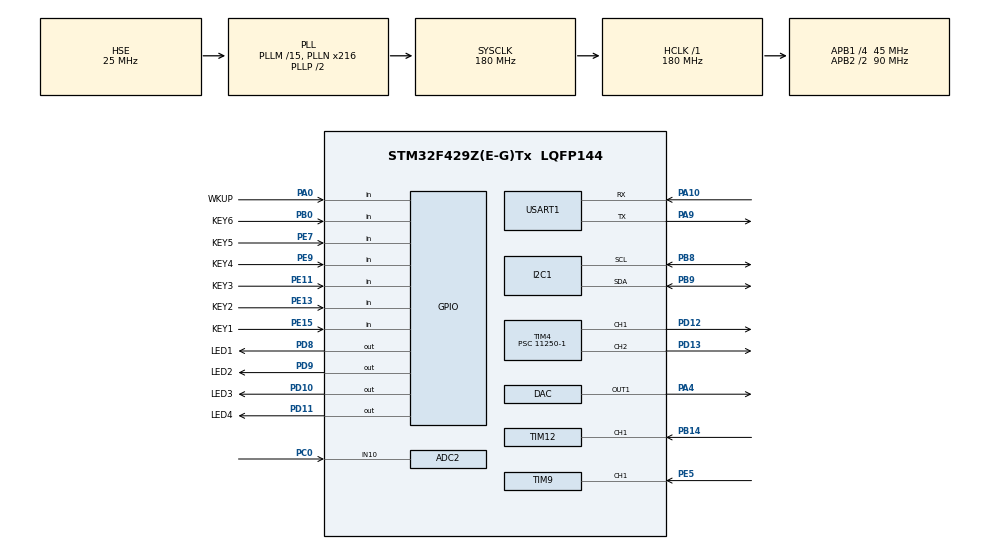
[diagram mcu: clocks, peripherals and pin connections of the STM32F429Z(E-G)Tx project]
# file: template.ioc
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ADC1.Channel-1\#ChannelRegularConversion=ADC_CHANNEL_4
ADC1.Channel-3\#ChannelInjectedConversion=ADC_CHANNEL_VREFINT
ADC1.ContinuousConvMode=DISABLE
ADC1.DMAContinuousRequests=ENABLE
ADC1.ExternalTrigConv=ADC_EXTERNALTRIGCONV_T3_TRGO
ADC1.InjNumberOfConversion=1
ADC1.InjectedOffset-3\#ChannelInjectedConversion=0
ADC1.InjectedRank-3\#ChannelInjectedConversion=1
ADC1.NbrOfConversion=1
ADC1.NbrOfConversionFlag=1
ADC1.Rank-1\#ChannelRegularConversion=1
ADC1.SamplingTime-1\#ChannelRegularConversion=ADC_SAMPLETIME_15CYCLES
ADC1.SamplingTime-3\#ChannelInjectedConversion=ADC_SAMPLETIME_480CYCLES
ADC1.master=1
ADC2.Channel-1\#ChannelRegularConversion=ADC_CHANNEL_10
ADC2.NbrOfConversionFlag=1
ADC2.Rank-1\#ChannelRegularConversion=1
ADC2.SamplingTime-1\#ChannelRegularConversion=ADC_SAMPLETIME_480CYCLES
DAC.DAC_Trigger=DAC_TRIGGER_T6_TRGO
Dma.ADC1.4.Direction=DMA_PERIPH_TO_MEMORY
Dma.ADC1.4.FIFOMode=DMA_FIFOMODE_DISABLE
Dma.ADC1.4.Instance=DMA2_Stream0
Dma.ADC1.4.MemDataAlignment=DMA_MDATAALIGN_HALFWORD
Dma.ADC1.4.MemInc=DMA_MINC_ENABLE
Dma.ADC1.4.Mode=DMA_CIRCULAR
Dma.ADC1.4.PeriphDataAlignment=DMA_PDATAALIGN_HALFWORD
Dma.ADC1.4.PeriphInc=DMA_PINC_DISABLE
Dma.ADC1.4.Priority=DMA_PRIORITY_LOW
Dma.DAC1.3.Direction=DMA_MEMORY_TO_PERIPH
Dma.DAC1.3.FIFOMode=DMA_FIFOMODE_DISABLE
Dma.DAC1.3.Instance=DMA1_Stream5
Dma.DAC1.3.MemDataAlignment=DMA_MDATAALIGN_HALFWORD
Dma.DAC1.3.MemInc=DMA_MINC_ENABLE
Dma.DAC1.3.Mode=DMA_CIRCULAR
Dma.DAC1.3.PeriphDataAlignment=DMA_PDATAALIGN_HALFWORD
Dma.DAC1.3.PeriphInc=DMA_PINC_DISABLE
Dma.DAC1.3.Priority=DMA_PRIORITY_LOW
Dma.Request0=USART1_RX
Dma.Request1=USART1_TX
Dma.Request2=TIM4_UP
Dma.Request3=DAC1
Dma.Request4=ADC1
Dma.TIM4_UP.2.Direction=DMA_MEMORY_TO_PERIPH
Dma.TIM4_UP.2.FIFOMode=DMA_FIFOMODE_DISABLE
Dma.TIM4_UP.2.Instance=DMA1_Stream6
Dma.TIM4_UP.2.MemDataAlignment=DMA_MDATAALIGN_HALFWORD
Dma.TIM4_UP.2.MemInc=DMA_MINC_ENABLE
Dma.TIM4_UP.2.Mode=DMA_CIRCULAR
Dma.TIM4_UP.2.PeriphDataAlignment=DMA_PDATAALIGN_HALFWORD
Dma.TIM4_UP.2.PeriphInc=DMA_PINC_DISABLE
Dma.TIM4_UP.2.Priority=DMA_PRIORITY_LOW
Dma.USART1_RX.0.Direction=DMA_PERIPH_TO_MEMORY
Dma.USART1_RX.0.FIFOMode=DMA_FIFOMODE_DISABLE
Dma.USART1_RX.0.Instance=DMA2_Stream2
Dma.USART1_RX.0.MemDataAlignment=DMA_MDATAALIGN_BYTE
Dma.USART1_RX.0.MemInc=DMA_MINC_ENABLE
Dma.USART1_RX.0.Mode=DMA_NORMAL
Dma.USART1_RX.0.PeriphDataAlignment=DMA_PDATAALIGN_BYTE
Dma.USART1_RX.0.PeriphInc=DMA_PINC_DISABLE
Dma.USART1_RX.0.Priority=DMA_PRIORITY_LOW
Dma.USART1_TX.1.Direction=DMA_MEMORY_TO_PERIPH
Dma.USART1_TX.1.FIFOMode=DMA_FIFOMODE_DISABLE
Dma.USART1_TX.1.Instance=DMA2_Stream7
Dma.USART1_TX.1.MemDataAlignment=DMA_MDATAALIGN_BYTE
Dma.USART1_TX.1.MemInc=DMA_MINC_ENABLE
Dma.USART1_TX.1.Mode=DMA_NORMAL
Dma.USART1_TX.1.PeriphDataAlignment=DMA_PDATAALIGN_BYTE
Dma.USART1_TX.1.PeriphInc=DMA_PINC_DISABLE
Dma.USART1_TX.1.Priority=DMA_PRIORITY_LOW
I2C1.I2C_Mode=I2C_Fast
Mcu.Family=STM32F4
Mcu.Name=STM32F429Z(E-G)Tx
Mcu.Package=LQFP144
NVIC.DMA1_Stream5_IRQn=true\:0\:0\:false\:false\:true\:false\:true\:true
NVIC.DMA1_Stream6_IRQn=true\:0\:0\:false\:false\:true\:false\:true\:true
NVIC.DMA2_Stream0_IRQn=true\:0\:0\:false\:false\:true\:false\:true\:true
NVIC.DMA2_Stream2_IRQn=true\:0\:0\:false\:false\:true\:false\:true\:true
NVIC.DMA2_Stream7_IRQn=true\:0\:0\:false\:false\:true\:false\:true\:true
NVIC.PriorityGroup=NVIC_PRIORITYGROUP_4
NVIC.TIM1_BRK_TIM9_IRQn=true\:0\:0\:false\:false\:true\:true\:true\:true
NVIC.TIM8_BRK_TIM12_IRQn=true\:0\:0\:false\:false\:true\:true\:true\:true
NVIC.USART1_IRQn=true\:0\:0\:false\:false\:true\:true\:true\:true
PA0/WKUP.GPIO_Label=WKUP
PA0/WKUP.Signal=GPIO_Input
PA10.Mode=Asynchronous
PA10.Signal=USART1_RX
PA13.Mode=Serial_Wire
PA13.Signal=SYS_JTMS-SWDIO
PA14.Mode=Serial_Wire
PA14.Signal=SYS_JTCK-SWCLK
PA4.Signal=SharedAnalog_PA4
PA9.Mode=Asynchronous
PA9.Signal=USART1_TX
PB0.GPIO_Label=KEY6
PB0.Signal=GPIO_Input
PB14.Signal=S_TIM12_CH1
PB8.Mode=I2C
PB8.Signal=I2C1_SCL
PB9.Mode=I2C
PB9.Signal=I2C1_SDA
PC0.Signal=ADCx_IN10
PD10.GPIO_Label=LED3
PD10.Signal=GPIO_Output
PD11.GPIO_Label=LED4
PD11.Signal=GPIO_Output
PD12.GPIO_ModeDefaultPP=GPIO_MODE_AF_OD
PD12.GPIO_PuPd=GPIO_PULLUP
PD12.Signal=S_TIM4_CH1
PD13.GPIO_ModeDefaultPP=GPIO_MODE_AF_OD
PD13.GPIO_PuPd=GPIO_PULLUP
PD13.Signal=S_TIM4_CH2
PD8.GPIO_Label=LED1
PD8.Signal=GPIO_Output
PD9.GPIO_Label=LED2
PD9.Signal=GPIO_Output
PE11.GPIO_Label=KEY3
PE11.Signal=GPIO_Input
PE13.GPIO_Label=KEY2
PE13.Signal=GPIO_Input
PE15.GPIO_Label=KEY1
PE15.Signal=GPIO_Input
PE5.Signal=S_TIM9_CH1
PE7.GPIO_Label=KEY5
PE7.Signal=GPIO_Input
PE9.GPIO_Label=KEY4
PE9.Signal=GPIO_Input
PH0/OSC_IN.Mode=HSE-External-Oscillator
PH0/OSC_IN.Signal=RCC_OSC_IN
PH1/OSC_OUT.Mode=HSE-External-Oscillator
PH1/OSC_OUT.Signal=RCC_OSC_OUT
ProjectManager.HeapSize=0x200
ProjectManager.StackSize=0x400
ProjectManager.TargetToolchain=MDK-ARM V5.32
RCC.48MHZClocksFreq_Value=90000000
RCC.AHBFreq_Value=180000000
RCC.APB1CLKDivider=RCC_HCLK_DIV4
RCC.APB1Freq_Value=45000000
RCC.APB1TimFreq_Value=90000000
RCC.APB2CLKDivider=RCC_HCLK_DIV2
RCC.APB2Freq_Value=90000000
RCC.APB2TimFreq_Value=180000000
RCC.CortexFreq_Value=180000000
RCC.HCLKFreq_Value=180000000
RCC.HSE_VALUE=25000000
RCC.HSI_VALUE=16000000
RCC.LSE_VALUE=32768
RCC.PLLM=15
RCC.PLLN=216
RCC.PLLSourceVirtual=RCC_PLLSOURCE_HSE
RCC.SYSCLKFreq_VALUE=180000000
RCC.SYSCLKSource=RCC_SYSCLKSOURCE_PLLCLK
RCC.VCOOutputFreq_Value=360000000
SH.ADCx_IN10.0=ADC2_IN10,IN10
SH.S_TIM12_CH1.0=TIM12_CH1,TriggerSource_TI1FP1
SH.S_TIM12_CH1.1=TIM12_CH1,Input_Capture1_from_TI1
SH.S_TIM4_CH1.0=TIM4_CH1,PWM Generation1 CH1
SH.S_TIM4_CH2.0=TIM4_CH2,PWM Generation2 CH2
SH.S_TIM9_CH1.0=TIM9_CH1,TriggerSource_TI1FP1
SH.S_TIM9_CH1.1=TIM9_CH1,Input_Capture1_from_TI1
SH.SharedAnalog_PA4.0=DAC_OUT1,DAC_OUT1
SH.SharedAnalog_PA4.1=ADC2_IN4
SH.SharedAnalog_PA4.2=ADC1_IN4,IN4
TIM12.Channel-Input_Capture1_from_TI1=TIM_CHANNEL_1
TIM12.Channel-Input_Capture2_from_TI1_63=TIM_CHANNEL_2
TIM12.ICPolarity_CH2=TIM_INPUTCHANNELPOLARITY_FALLING
TIM12.Prescaler=90 - 1
TIM3.AutoReloadPreload=TIM_AUTORELOAD_PRELOAD_ENABLE
TIM3.Prescaler=30 - 1
TIM3.TIM_MasterOutputTrigger=TIM_TRGO_UPDATE
TIM3.TIM_MasterSlaveMode=TIM_MASTERSLAVEMODE_ENABLE
TIM4.AutoReloadPreload=TIM_AUTORELOAD_PRELOAD_ENABLE
TIM4.Channel-PWM\ Generation1\ CH1=TIM_CHANNEL_1
TIM4.Channel-PWM\ Generation2\ CH2=TIM_CHANNEL_2
TIM4.OCPolarity_1=TIM_OCPOLARITY_LOW
TIM4.OCPolarity_2=TIM_OCPOLARITY_LOW
TIM4.Period=8-1
TIM4.Prescaler=11250-1
TIM6.AutoReloadPreload=TIM_AUTORELOAD_PRELOAD_ENABLE
TIM6.Prescaler=30 - 1
TIM6.TIM_MasterOutputTrigger=TIM_TRGO_UPDATE
TIM9.Channel-Input_Capture1_from_TI1=TIM_CHANNEL_1
TIM9.Channel-Input_Capture2_from_TI1_63=TIM_CHANNEL_2
TIM9.ICFilter_CH1=0
TIM9.ICPolarity_CH2=TIM_INPUTCHANNELPOLARITY_FALLING
TIM9.Prescaler=180 - 1
USART1.VirtualMode=VM_ASYNC
VP_ADC1_Vref_Input.Mode=IN-Vrefint
VP_TIM12_VS_ClockSourceINT.Mode=Internal
VP_TIM12_VS_ControllerModeReset.Mode=Reset Mode
VP_TIM12_VS_indirect_ch1.Mode=Input_Capture2_from_TI1_63
VP_TIM3_VS_ClockSourceINT.Mode=Internal
VP_TIM4_VS_ClockSourceINT.Mode=Internal
VP_TIM6_VS_ClockSourceINT.Mode=Enable_Timer
VP_TIM9_VS_ClockSourceINT.Mode=Internal
VP_TIM9_VS_ControllerModeReset.Mode=Reset Mode
VP_TIM9_VS_indirect_ch1.Mode=Input_Capture2_from_TI1_63
board=custom

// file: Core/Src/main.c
/* USER CODE BEGIN Header */
/**
  ******************************************************************************
  * @file           : main.c
  * @brief          : Main program body
  ******************************************************************************
  * @attention
  *
  * Copyright (c) 2026 STMicroelectronics.
  * All rights reserved.
  *
  * This software is licensed under terms that can be found in the LICENSE file
  * in the root directory of this software component.
  * If no LICENSE file comes with this software, it is provided AS-IS.
  *
  ******************************************************************************
  */
/* USER CODE END Header */
#include "main.h"
#include "adc.h"
#include "dac.h"
#include "dma.h"
#include "i2c.h"
#include "tim.h"
#include "usart.h"
#include "gpio.h"

/* USER CODE BEGIN Includes */
#include <scheduler.h>
#include <ICAP_service.h>
#include <OLED_service.h>
#include <OLED_page.h>
#include <menu_item.h>
#include <DAC_service.h>
#include <button_task.h>
#include <USART_task.h>
#include <ADC_service.h>
#include <memory_pool.h>

/* USER CODE END Includes */

void SystemClock_Config(void);

int main(void)
{

  /* MCU Configuration--------------------------------------------------------*/

  /* Reset of all peripherals, Initializes the Flash interface and the Systick. */
  HAL_Init();

  /* Configure the system clock */
  SystemClock_Config();

  /* Initialize all configured peripherals */
  MX_GPIO_Init();
  MX_DMA_Init();
  MX_USART1_UART_Init();
  MX_TIM4_Init();
  MX_TIM9_Init();
  MX_TIM12_Init();
  MX_I2C1_Init();
  MX_DAC_Init();
  MX_TIM6_Init();
  MX_ADC1_Init();
  MX_ADC2_Init();
  MX_TIM3_Init();
  /* USER CODE BEGIN 2 */
	button_task_init();
	USART_init();
	scheduler_init();
	ICAP_init();
	OLED_init();
	OLED_page_init();
	menu_init();
	DAC_init();
	ADC_init();
	MP_init();
  /* USER CODE END 2 */

  /* Infinite loop */
  /* USER CODE BEGIN WHILE */
  while (1)
  {
		scheduler_run();
//		ICAP_update();
		OLED_task_poll();
    /* USER CODE END WHILE */

  }
}

void SystemClock_Config(void)
{
  RCC_OscInitTypeDef RCC_OscInitStruct = {0};
  RCC_ClkInitTypeDef RCC_ClkInitStruct = {0};

  /** Configure the main internal regulator output voltage
  */
  __HAL_RCC_PWR_CLK_ENABLE();
  __HAL_PWR_VOLTAGESCALING_CONFIG(PWR_REGULATOR_VOLTAGE_SCALE1);

  /** Initializes the RCC Oscillators according to the specified parameters
  * in the RCC_OscInitTypeDef structure.
  */
  RCC_OscInitStruct.OscillatorType = RCC_OSCILLATORTYPE_HSE;
  RCC_OscInitStruct.HSEState = RCC_HSE_ON;
  RCC_OscInitStruct.PLL.PLLState = RCC_PLL_ON;
  RCC_OscInitStruct.PLL.PLLSource = RCC_PLLSOURCE_HSE;
  RCC_OscInitStruct.PLL.PLLM = 15;
  RCC_OscInitStruct.PLL.PLLN = 216;
  RCC_OscInitStruct.PLL.PLLP = RCC_PLLP_DIV2;
  RCC_OscInitStruct.PLL.PLLQ = 4;
  if (HAL_RCC_OscConfig(&RCC_OscInitStruct) != HAL_OK)
  {
    Error_Handler();
  }

  /** Activate the Over-Drive mode
  */
  if (HAL_PWREx_EnableOverDrive() != HAL_OK)
  {
    Error_Handler();
  }

  /** Initializes the CPU, AHB and APB buses clocks
  */
  RCC_ClkInitStruct.ClockType = RCC_CLOCKTYPE_HCLK|RCC_CLOCKTYPE_SYSCLK
                              |RCC_CLOCKTYPE_PCLK1|RCC_CLOCKTYPE_PCLK2;
  RCC_ClkInitStruct.SYSCLKSource = RCC_SYSCLKSOURCE_PLLCLK;
  RCC_ClkInitStruct.AHBCLKDivider = RCC_SYSCLK_DIV1;
  RCC_ClkInitStruct.APB1CLKDivider = RCC_HCLK_DIV4;
  RCC_ClkInitStruct.APB2CLKDivider = RCC_HCLK_DIV2;

  if (HAL_RCC_ClockConfig(&RCC_ClkInitStruct, FLASH_LATENCY_5) != HAL_OK)
  {
    Error_Handler();
  }
}

void Error_Handler(void)
{
  __disable_irq();
  while (1)
  {
  }
}
